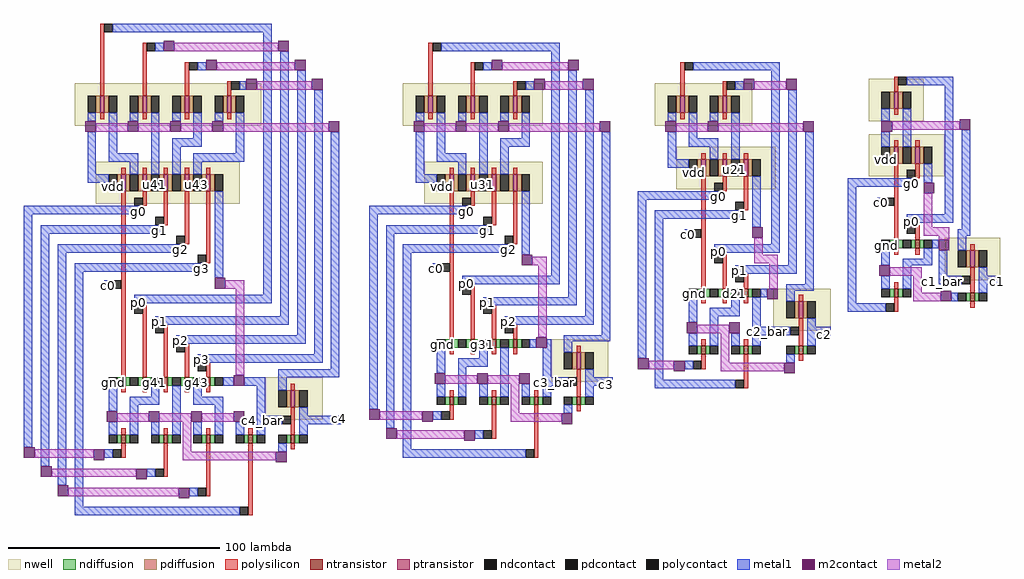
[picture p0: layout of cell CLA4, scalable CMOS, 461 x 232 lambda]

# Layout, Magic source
magic
tech scmos
<< nwell >>
rect -49 23 39 43
rect 106 23 172 43
rect 225 23 271 43
rect 326 25 352 45
rect -39 -14 29 6
rect 116 -14 172 6
rect 235 -7 282 13
rect 326 -1 362 19
rect 362 -50 388 -30
rect 281 -74 308 -54
rect 41 -116 68 -96
rect 176 -98 203 -78
<< ntransistor >>
rect 338 -35 340 -31
rect 348 -35 350 -31
rect 247 -58 249 -54
rect 257 -58 259 -54
rect 267 -58 269 -54
rect 338 -58 340 -54
rect 374 -60 376 -56
rect 128 -82 130 -78
rect 138 -82 140 -78
rect 148 -82 150 -78
rect 158 -82 160 -78
rect 247 -85 249 -81
rect 267 -85 269 -81
rect 293 -85 295 -81
rect -27 -100 -25 -96
rect -17 -100 -15 -96
rect -7 -100 -5 -96
rect 3 -100 5 -96
rect 13 -100 15 -96
rect 128 -109 130 -105
rect 148 -109 150 -105
rect 168 -109 170 -105
rect 188 -109 190 -105
rect -27 -127 -25 -123
rect -7 -127 -5 -123
rect 13 -127 15 -123
rect 33 -127 35 -123
rect 53 -127 55 -123
<< ptransistor >>
rect -37 29 -35 37
rect -17 29 -15 37
rect 3 29 5 37
rect 23 29 25 37
rect 118 29 120 37
rect 138 29 140 37
rect 158 29 160 37
rect 237 29 239 37
rect 257 29 259 37
rect 338 31 340 39
rect -27 -8 -25 0
rect -17 -8 -15 0
rect -7 -8 -5 0
rect 3 -8 5 0
rect 13 -8 15 0
rect 128 -8 130 0
rect 138 -8 140 0
rect 148 -8 150 0
rect 158 -8 160 0
rect 247 -1 249 7
rect 257 -1 259 7
rect 267 -1 269 7
rect 338 5 340 13
rect 348 5 350 13
rect 374 -44 376 -36
rect 293 -68 295 -60
rect 188 -92 190 -84
rect 53 -110 55 -102
<< ndiffusion >>
rect 336 -35 338 -31
rect 340 -35 342 -31
rect 346 -35 348 -31
rect 350 -35 352 -31
rect 245 -58 247 -54
rect 249 -58 251 -54
rect 255 -58 257 -54
rect 259 -58 261 -54
rect 265 -58 267 -54
rect 269 -58 271 -54
rect 336 -58 338 -54
rect 340 -58 342 -54
rect 372 -60 374 -56
rect 376 -60 378 -56
rect 126 -82 128 -78
rect 130 -82 132 -78
rect 136 -82 138 -78
rect 140 -82 142 -78
rect 146 -82 148 -78
rect 150 -82 152 -78
rect 156 -82 158 -78
rect 160 -82 162 -78
rect 245 -85 247 -81
rect 249 -85 251 -81
rect 265 -85 267 -81
rect 269 -85 271 -81
rect 291 -85 293 -81
rect 295 -85 297 -81
rect -29 -100 -27 -96
rect -25 -100 -23 -96
rect -19 -100 -17 -96
rect -15 -100 -13 -96
rect -9 -100 -7 -96
rect -5 -100 -3 -96
rect 1 -100 3 -96
rect 5 -100 7 -96
rect 11 -100 13 -96
rect 15 -100 17 -96
rect 126 -109 128 -105
rect 130 -109 132 -105
rect 146 -109 148 -105
rect 150 -109 152 -105
rect 166 -109 168 -105
rect 170 -109 172 -105
rect 186 -109 188 -105
rect 190 -109 192 -105
rect -29 -127 -27 -123
rect -25 -127 -23 -123
rect -9 -127 -7 -123
rect -5 -127 -3 -123
rect 11 -127 13 -123
rect 15 -127 17 -123
rect 31 -127 33 -123
rect 35 -127 37 -123
rect 51 -127 53 -123
rect 55 -127 57 -123
<< pdiffusion >>
rect -39 29 -37 37
rect -35 29 -33 37
rect -19 29 -17 37
rect -15 29 -13 37
rect 1 29 3 37
rect 5 29 7 37
rect 21 29 23 37
rect 25 29 27 37
rect 116 29 118 37
rect 120 29 122 37
rect 136 29 138 37
rect 140 29 142 37
rect 156 29 158 37
rect 160 29 162 37
rect 235 29 237 37
rect 239 29 241 37
rect 255 29 257 37
rect 259 29 261 37
rect 336 31 338 39
rect 340 31 342 39
rect -29 -8 -27 0
rect -25 -8 -23 0
rect -19 -8 -17 0
rect -15 -8 -13 0
rect -9 -8 -7 0
rect -5 -8 -3 0
rect 1 -8 3 0
rect 5 -8 7 0
rect 11 -8 13 0
rect 15 -8 17 0
rect 126 -8 128 0
rect 130 -8 132 0
rect 136 -8 138 0
rect 140 -8 142 0
rect 146 -8 148 0
rect 150 -8 152 0
rect 156 -8 158 0
rect 160 -8 162 0
rect 245 -1 247 7
rect 249 -1 251 7
rect 255 -1 257 7
rect 259 -1 261 7
rect 265 -1 267 7
rect 269 -1 271 7
rect 336 5 338 13
rect 340 5 342 13
rect 346 5 348 13
rect 350 5 352 13
rect 372 -44 374 -36
rect 376 -44 378 -36
rect 291 -68 293 -60
rect 295 -68 297 -60
rect 186 -92 188 -84
rect 190 -92 192 -84
rect 51 -110 53 -102
rect 55 -110 57 -102
<< ndcontact >>
rect 332 -35 336 -31
rect 342 -35 346 -31
rect 352 -35 356 -31
rect 241 -58 245 -54
rect 251 -58 255 -54
rect 261 -58 265 -54
rect 271 -58 275 -54
rect 332 -58 336 -54
rect 342 -58 346 -54
rect 368 -60 372 -56
rect 378 -60 382 -56
rect 122 -82 126 -78
rect 132 -82 136 -78
rect 142 -82 146 -78
rect 152 -82 156 -78
rect 162 -82 166 -78
rect 241 -85 245 -81
rect 251 -85 255 -81
rect 261 -85 265 -81
rect 271 -85 275 -81
rect 287 -85 291 -81
rect 297 -85 301 -81
rect -33 -100 -29 -96
rect -23 -100 -19 -96
rect -13 -100 -9 -96
rect -3 -100 1 -96
rect 7 -100 11 -96
rect 17 -100 21 -96
rect 122 -109 126 -105
rect 132 -109 136 -105
rect 142 -109 146 -105
rect 152 -109 156 -105
rect 162 -109 166 -105
rect 172 -109 176 -105
rect 182 -109 186 -105
rect 192 -109 196 -105
rect -33 -127 -29 -123
rect -23 -127 -19 -123
rect -13 -127 -9 -123
rect -3 -127 1 -123
rect 7 -127 11 -123
rect 17 -127 21 -123
rect 27 -127 31 -123
rect 37 -127 41 -123
rect 47 -127 51 -123
rect 57 -127 61 -123
<< pdcontact >>
rect -43 29 -39 37
rect -33 29 -29 37
rect -23 29 -19 37
rect -13 29 -9 37
rect -3 29 1 37
rect 7 29 11 37
rect 17 29 21 37
rect 27 29 31 37
rect 112 29 116 37
rect 122 29 126 37
rect 132 29 136 37
rect 142 29 146 37
rect 152 29 156 37
rect 162 29 166 37
rect 231 29 235 37
rect 241 29 245 37
rect 251 29 255 37
rect 261 29 265 37
rect 332 31 336 39
rect 342 31 346 39
rect -33 -8 -29 0
rect -23 -8 -19 0
rect -13 -8 -9 0
rect -3 -8 1 0
rect 7 -8 11 0
rect 17 -8 21 0
rect 122 -8 126 0
rect 132 -8 136 0
rect 142 -8 146 0
rect 152 -8 156 0
rect 162 -8 166 0
rect 241 -1 245 7
rect 251 -1 255 7
rect 261 -1 265 7
rect 271 -1 275 7
rect 332 5 336 13
rect 342 5 346 13
rect 352 5 356 13
rect 368 -44 372 -36
rect 378 -44 382 -36
rect 287 -68 291 -60
rect 297 -68 301 -60
rect 182 -92 186 -84
rect 192 -92 196 -84
rect 47 -110 51 -102
rect 57 -110 61 -102
<< polysilicon >>
rect -37 37 -35 71
rect -17 37 -15 62
rect 3 37 5 53
rect 23 37 25 44
rect 118 37 120 62
rect 138 37 140 53
rect 158 37 160 44
rect 237 37 239 53
rect 257 37 259 44
rect 338 39 340 46
rect -37 26 -35 29
rect -17 26 -15 29
rect 3 26 5 29
rect 23 26 25 29
rect 118 26 120 29
rect 138 26 140 29
rect 158 26 160 29
rect 237 26 239 29
rect 257 26 259 29
rect 338 28 340 31
rect 338 13 340 16
rect 348 13 350 16
rect 247 7 249 10
rect 257 7 259 10
rect 267 7 269 10
rect -27 0 -25 3
rect -17 0 -15 3
rect -7 0 -5 3
rect 3 0 5 3
rect 13 0 15 3
rect 128 0 130 3
rect 138 0 140 3
rect 148 0 150 3
rect 158 0 160 3
rect -27 -96 -25 -8
rect -17 -15 -15 -8
rect -7 -24 -5 -8
rect 3 -33 5 -8
rect 13 -42 15 -8
rect -17 -96 -15 -62
rect -7 -96 -5 -71
rect 128 -78 130 -8
rect 138 -15 140 -8
rect 148 -24 150 -8
rect 158 -33 160 -8
rect 138 -78 140 -53
rect 247 -54 249 -1
rect 257 -8 259 -1
rect 267 -17 269 -1
rect 338 -31 340 5
rect 348 -2 350 5
rect 348 -31 350 -24
rect 338 -38 340 -35
rect 348 -38 350 -35
rect 374 -36 376 -33
rect 257 -54 259 -38
rect 267 -54 269 -47
rect 338 -54 340 -51
rect 247 -61 249 -58
rect 257 -61 259 -58
rect 267 -61 269 -58
rect 293 -60 295 -57
rect 374 -56 376 -44
rect 148 -78 150 -62
rect 338 -65 340 -58
rect 374 -63 376 -60
rect 158 -78 160 -71
rect 3 -96 5 -80
rect 247 -81 249 -78
rect 267 -81 269 -78
rect 293 -81 295 -68
rect 128 -85 130 -82
rect 138 -85 140 -82
rect 148 -85 150 -82
rect 158 -85 160 -82
rect 188 -84 190 -81
rect 13 -96 15 -89
rect 247 -92 249 -85
rect -27 -103 -25 -100
rect -17 -103 -15 -100
rect -7 -103 -5 -100
rect 3 -103 5 -100
rect 13 -103 15 -100
rect 53 -102 55 -99
rect 128 -105 130 -102
rect 148 -105 150 -102
rect 168 -105 170 -102
rect 188 -105 190 -92
rect 267 -101 269 -85
rect 293 -88 295 -85
rect -27 -123 -25 -120
rect -7 -123 -5 -120
rect 13 -123 15 -120
rect 33 -123 35 -120
rect 53 -123 55 -110
rect 128 -116 130 -109
rect 148 -125 150 -109
rect -27 -134 -25 -127
rect -7 -143 -5 -127
rect 13 -152 15 -127
rect 33 -161 35 -127
rect 53 -130 55 -127
rect 168 -134 170 -109
rect 188 -112 190 -109
<< polycontact >>
rect -35 67 -31 71
rect -15 58 -11 62
rect 5 49 9 53
rect 25 40 29 44
rect 120 58 124 62
rect 140 49 144 53
rect 160 40 164 44
rect 239 49 243 53
rect 259 40 263 44
rect 340 42 344 46
rect -31 -54 -27 -50
rect -21 -15 -17 -11
rect -11 -24 -7 -20
rect -1 -33 3 -29
rect 9 -42 13 -38
rect 124 -46 128 -42
rect -21 -66 -17 -62
rect -11 -75 -7 -71
rect 134 -15 138 -11
rect 144 -24 148 -20
rect 154 -33 158 -29
rect 243 -30 247 -26
rect 134 -57 138 -53
rect 253 -8 257 -4
rect 263 -17 267 -13
rect 334 -15 338 -11
rect 344 -2 348 2
rect 344 -28 348 -24
rect 253 -42 257 -38
rect 263 -51 267 -47
rect 370 -52 374 -48
rect 144 -66 148 -62
rect 334 -65 338 -61
rect 154 -75 158 -71
rect 289 -76 293 -72
rect -1 -84 3 -80
rect 9 -93 13 -89
rect 243 -92 247 -88
rect 184 -100 188 -96
rect 263 -101 267 -97
rect 49 -118 53 -114
rect 124 -116 128 -112
rect 144 -125 148 -121
rect -31 -134 -27 -130
rect -11 -143 -7 -139
rect 9 -152 13 -148
rect 29 -161 33 -157
rect 164 -134 168 -130
<< metal1 >>
rect -31 67 44 71
rect -11 58 -7 62
rect 9 49 13 53
rect 29 40 32 44
rect -43 25 -39 29
rect -43 0 -39 20
rect -33 10 -29 29
rect -23 25 -19 29
rect -33 6 -19 10
rect -23 0 -19 6
rect -43 -4 -33 0
rect -13 0 -9 29
rect -3 25 1 29
rect 7 17 11 29
rect 17 25 21 29
rect -3 13 11 17
rect -3 0 1 13
rect 27 10 31 29
rect 7 6 31 10
rect 7 0 11 6
rect -73 -19 -17 -15
rect -73 -129 -69 -19
rect -65 -28 -7 -24
rect -65 -138 -61 -28
rect -57 -37 3 -33
rect -57 -147 -53 -37
rect -49 -46 13 -42
rect -49 -157 -45 -46
rect 17 -49 21 -8
rect -35 -54 -31 -50
rect 40 -57 44 67
rect 124 58 180 62
rect -21 -61 44 -57
rect -21 -62 -17 -61
rect 48 -67 52 58
rect 144 49 148 53
rect -11 -71 52 -67
rect 56 -76 60 49
rect 164 40 168 44
rect -1 -80 60 -76
rect 64 -85 68 40
rect 112 25 116 29
rect 9 -89 68 -85
rect 72 -92 76 20
rect 112 0 116 20
rect 122 10 126 29
rect 132 25 136 29
rect 122 6 136 10
rect 132 0 136 6
rect 112 -4 122 0
rect 142 0 146 29
rect 152 25 156 29
rect 162 17 166 29
rect 152 13 166 17
rect 152 0 156 13
rect -33 -112 -29 -100
rect -13 -105 -9 -100
rect -33 -123 -29 -117
rect -23 -109 -9 -105
rect -23 -123 -19 -109
rect -13 -123 -9 -117
rect -3 -123 1 -100
rect 21 -100 26 -96
rect 47 -96 76 -92
rect 90 -19 138 -15
rect 31 -100 41 -96
rect 7 -105 11 -100
rect 7 -109 21 -105
rect 7 -123 11 -117
rect 17 -123 21 -109
rect 27 -123 31 -117
rect 37 -114 41 -100
rect 47 -102 51 -96
rect 57 -114 61 -110
rect 90 -111 94 -19
rect 98 -28 148 -24
rect 37 -118 49 -114
rect 57 -118 78 -114
rect 37 -123 41 -118
rect 57 -123 61 -118
rect 98 -120 102 -28
rect 106 -37 158 -33
rect -35 -134 -31 -130
rect 47 -131 51 -127
rect 106 -130 110 -37
rect 162 -38 166 -8
rect 120 -46 124 -42
rect 176 -48 180 58
rect 134 -52 180 -48
rect 243 49 284 53
rect 134 -53 138 -52
rect 184 -58 188 49
rect 263 40 267 44
rect 144 -62 188 -58
rect 192 -67 196 40
rect 231 25 235 29
rect 154 -71 196 -67
rect 200 -76 204 20
rect 231 7 235 20
rect 241 17 245 29
rect 251 25 255 29
rect 241 13 255 17
rect 251 7 255 13
rect 231 3 241 7
rect 261 7 265 29
rect 122 -94 126 -82
rect 142 -87 146 -82
rect 122 -105 126 -99
rect 132 -91 146 -87
rect 166 -82 169 -78
rect 174 -82 176 -78
rect 132 -105 136 -91
rect 142 -105 146 -99
rect 152 -105 156 -82
rect 162 -105 166 -99
rect 172 -96 176 -82
rect 182 -79 204 -76
rect 217 -12 257 -8
rect 182 -84 186 -79
rect 217 -87 221 -12
rect 225 -21 267 -17
rect 192 -96 196 -92
rect 172 -100 184 -96
rect 192 -100 205 -96
rect 225 -97 229 -21
rect 271 -25 275 -1
rect 239 -30 243 -26
rect 280 -33 284 49
rect 344 42 366 46
rect 253 -37 284 -33
rect 253 -38 257 -37
rect 288 -43 292 40
rect 332 25 336 31
rect 263 -47 292 -43
rect 296 -52 300 20
rect 332 13 336 20
rect 342 13 346 31
rect 241 -70 245 -58
rect 261 -63 265 -58
rect 241 -81 245 -75
rect 251 -67 265 -63
rect 275 -58 278 -54
rect 251 -81 255 -67
rect 261 -81 265 -75
rect 271 -72 275 -58
rect 287 -55 300 -52
rect 316 -6 348 -2
rect 352 -4 356 5
rect 287 -60 291 -55
rect 316 -61 320 -6
rect 330 -15 334 -11
rect 362 -19 366 42
rect 344 -23 366 -19
rect 344 -24 348 -23
rect 370 -26 374 21
rect 368 -29 374 -26
rect 356 -35 359 -31
rect 332 -43 336 -35
rect 352 -40 356 -35
rect 332 -54 336 -48
rect 342 -43 356 -40
rect 368 -36 372 -29
rect 342 -54 346 -43
rect 359 -48 363 -36
rect 378 -48 382 -44
rect 359 -52 370 -48
rect 378 -52 388 -48
rect 378 -56 382 -52
rect 365 -60 368 -56
rect 316 -65 334 -61
rect 297 -72 301 -68
rect 271 -76 289 -72
rect 297 -76 308 -72
rect 271 -81 275 -76
rect 297 -81 301 -76
rect 239 -92 243 -88
rect 287 -89 291 -85
rect 172 -105 176 -100
rect 192 -105 196 -100
rect 225 -101 263 -97
rect 120 -116 124 -112
rect 182 -113 186 -109
rect 140 -125 144 -121
rect 106 -134 164 -130
rect -15 -143 -11 -139
rect 5 -152 9 -148
rect -49 -161 29 -157
<< m2contact >>
rect -7 58 -2 63
rect 13 49 18 54
rect 32 40 37 45
rect -44 20 -39 25
rect -24 20 -19 25
rect -4 20 1 25
rect 16 20 21 25
rect -73 -134 -68 -129
rect -65 -143 -60 -138
rect -57 -152 -52 -147
rect 17 -54 22 -49
rect 47 58 52 63
rect 55 49 60 54
rect 148 49 153 54
rect 63 40 68 45
rect 168 40 173 45
rect 71 20 76 25
rect 111 20 116 25
rect 131 20 136 25
rect 151 20 156 25
rect -34 -117 -29 -112
rect -14 -117 -9 -112
rect 26 -100 31 -95
rect 6 -117 11 -112
rect 26 -117 31 -112
rect 90 -116 95 -111
rect 98 -125 103 -120
rect -40 -135 -35 -130
rect 46 -136 51 -131
rect 162 -43 167 -38
rect 184 49 189 54
rect 191 40 196 45
rect 267 40 272 45
rect 199 20 204 25
rect 230 20 235 25
rect 250 20 255 25
rect 121 -99 126 -94
rect 169 -82 174 -77
rect 141 -99 146 -94
rect 161 -99 166 -94
rect 217 -92 222 -87
rect 271 -30 276 -25
rect 287 40 292 45
rect 295 20 300 25
rect 332 20 337 25
rect 240 -75 245 -70
rect 260 -75 265 -70
rect 278 -59 283 -54
rect 352 -9 357 -4
rect 369 21 374 26
rect 331 -48 336 -43
rect 359 -36 364 -31
rect 360 -60 365 -55
rect 234 -93 239 -88
rect 286 -94 291 -89
rect 115 -117 120 -112
rect 181 -118 186 -113
rect 135 -126 140 -121
rect -20 -144 -15 -139
rect 0 -153 5 -148
<< metal2 >>
rect -2 58 47 62
rect 18 49 55 53
rect 153 49 184 53
rect 37 40 63 44
rect 173 40 191 44
rect 272 40 287 44
rect -39 20 -24 24
rect -19 20 -4 24
rect 1 20 16 24
rect 21 20 71 24
rect 116 20 131 24
rect 136 20 151 24
rect 156 20 199 24
rect 235 20 250 24
rect 255 20 295 24
rect 337 21 369 25
rect 352 -25 356 -9
rect 352 -29 364 -25
rect 272 -38 276 -30
rect 359 -31 364 -29
rect 167 -43 174 -39
rect 272 -42 283 -38
rect 22 -54 31 -50
rect 27 -95 31 -54
rect 170 -77 174 -43
rect 279 -54 283 -42
rect 336 -48 351 -44
rect 347 -56 351 -48
rect 347 -60 360 -56
rect 245 -75 260 -71
rect 222 -92 234 -88
rect 256 -89 260 -75
rect 256 -93 286 -89
rect 126 -99 141 -95
rect 146 -99 161 -95
rect -29 -117 -14 -113
rect -9 -117 6 -113
rect 11 -117 26 -113
rect 95 -116 115 -112
rect 157 -113 161 -99
rect 157 -117 181 -113
rect -68 -134 -40 -130
rect 2 -131 6 -117
rect 103 -125 135 -121
rect 2 -135 46 -131
rect -60 -143 -20 -139
rect -52 -152 0 -148
<< labels >>
rlabel pdcontact -31 -7 -30 -5 1 vdd
rlabel ndcontact -31 -99 -30 -98 1 gnd
rlabel metal1 -20 -18 -18 -17 1 g0
rlabel metal1 -10 -27 -8 -26 1 g1
rlabel metal1 0 -36 2 -35 1 g2
rlabel metal1 10 -45 12 -44 1 g3
rlabel metal1 -20 -61 -18 -60 1 p0
rlabel metal1 0 -79 2 -78 1 p2
rlabel metal1 10 -88 12 -87 1 p3
rlabel metal1 -10 -70 -8 -69 1 p1
rlabel metal1 75 -116 77 -115 7 c4
rlabel metal1 38 -117 41 -116 1 c4_bar
rlabel metal1 -34 -53 -32 -52 1 c0
rlabel pdcontact -22 -6 -21 -4 1 u40
rlabel pdcontact -12 -6 -11 -4 1 u41
rlabel pdcontact -2 -6 -1 -4 1 u42
rlabel pdcontact 8 -6 9 -4 1 u43
rlabel ndcontact -22 -99 -21 -98 1 g40
rlabel ndcontact -12 -99 -11 -98 1 g41
rlabel ndcontact -2 -99 -1 -98 1 g42
rlabel ndcontact 8 -99 9 -98 1 g43
rlabel pdcontact 124 -7 125 -5 1 vdd
rlabel metal1 135 -18 137 -17 1 g0
rlabel metal1 145 -27 147 -26 1 g1
rlabel metal1 155 -36 157 -35 1 g2
rlabel metal1 121 -45 123 -44 1 c0
rlabel metal1 135 -52 137 -51 1 p0
rlabel metal1 155 -70 157 -69 1 p2
rlabel metal1 145 -61 147 -60 1 p1
rlabel ndcontact 124 -81 125 -80 1 gnd
rlabel pdcontact 133 -6 134 -4 1 u30
rlabel pdcontact 143 -6 144 -4 1 u31
rlabel pdcontact 153 -6 154 -4 1 u32
rlabel ndcontact 133 -81 134 -80 1 g30
rlabel ndcontact 143 -81 144 -80 1 g31
rlabel ndcontact 153 -81 154 -80 1 g32
rlabel metal1 176 -99 179 -98 1 c3_bar
rlabel metal1 201 -100 203 -99 1 c3
rlabel metal1 304 -76 306 -75 1 c2
rlabel metal1 277 -75 279 -74 1 c2_bar
rlabel pdcontact 262 1 263 3 1 u21
rlabel pdcontact 252 1 253 3 1 u20
rlabel ndcontact 262 -57 263 -56 1 d21
rlabel ndcontact 252 -57 253 -56 1 d20
rlabel ndcontact 243 -57 244 -56 1 gnd
rlabel metal1 264 -46 266 -45 1 p1
rlabel metal1 254 -37 256 -36 1 p0
rlabel metal1 240 -29 242 -28 1 c0
rlabel metal1 264 -20 266 -19 1 g1
rlabel metal1 254 -11 256 -10 1 g0
rlabel pdcontact 243 0 244 2 1 vdd
rlabel pdcontact 334 6 335 8 1 vdd
rlabel metal1 345 -5 347 -4 1 g0
rlabel metal1 331 -14 333 -13 1 c0
rlabel metal1 345 -23 347 -22 1 p0
rlabel ndcontact 334 -34 335 -33 1 gnd
rlabel pdcontact 343 7 344 9 1 u10
rlabel ndcontact 343 -34 344 -33 1 d10
rlabel metal1 360 -51 362 -50 1 c1_bar
rlabel metal1 386 -51 388 -50 7 c1
<< end >>
